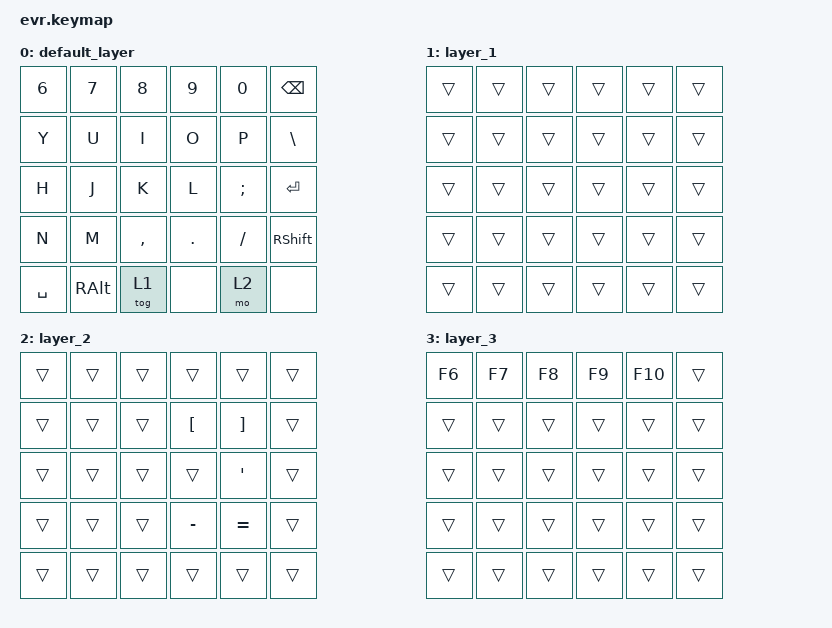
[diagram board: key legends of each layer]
/*
 * Copyright (c) 2020 The ZMK Contributors
 *
 * SPDX-License-Identifier: MIT
 */

#include <behaviors.dtsi>
#include <dt-bindings/zmk/keys.h>
#include <dt-bindings/zmk/bt.h>

/ {
    keymap {
        compatible = "zmk,keymap";

        default_layer: default_layer {
            bindings = <
                &kp N6     &kp N7     &kp N8    &kp N9   &kp N0   &kp BSPC
                &kp Y      &kp U      &kp I     &kp O    &kp P    &kp BSLH
                &kp H      &kp J      &kp K     &kp L    &kp SEMI &kp RET
                &kp N      &kp M      &kp COMMA &kp DOT  &kp FSLH &kp RSHFT
                &kp SPACE  &kp RALT   &tog 1    &none    &mo 2    &none
            >;
        };

        layer_1 {
            bindings = <
                &trans    &trans   &trans   &trans   &trans   &trans
                &trans    &trans   &trans   &trans   &trans   &trans
                &trans    &trans   &trans   &trans   &trans   &trans
                &trans    &trans   &trans   &trans   &trans   &trans
                &trans    &trans   &trans   &trans   &trans   &trans
            >;
        };

        layer_2 {
            bindings = <
                &trans    &trans    &trans    &trans    &trans    &trans
                &trans    &trans    &trans    &kp LBKT  &kp RBKT  &trans
                &trans    &trans    &trans    &trans    &kp SQT   &trans
                &trans    &trans    &trans    &kp MINUS &kp EQUAL &trans
                &trans    &trans    &trans    &trans    &trans    &trans
            >;
        };

        layer_3 {
            bindings = <
                &kp F6    &kp F7    &kp F8    &kp F9    &kp F10   &trans
                &trans    &trans    &trans    &trans    &trans    &trans
                &trans    &trans    &trans    &trans    &trans    &trans
                &trans    &trans    &trans    &trans    &trans    &trans
                &trans    &trans    &trans    &trans    &trans    &trans
            >;
        };
    };

    chosen {
        zmk,studio-layout = &default_layer;
        zmk,default-layer = &default_layer;
    };
};
